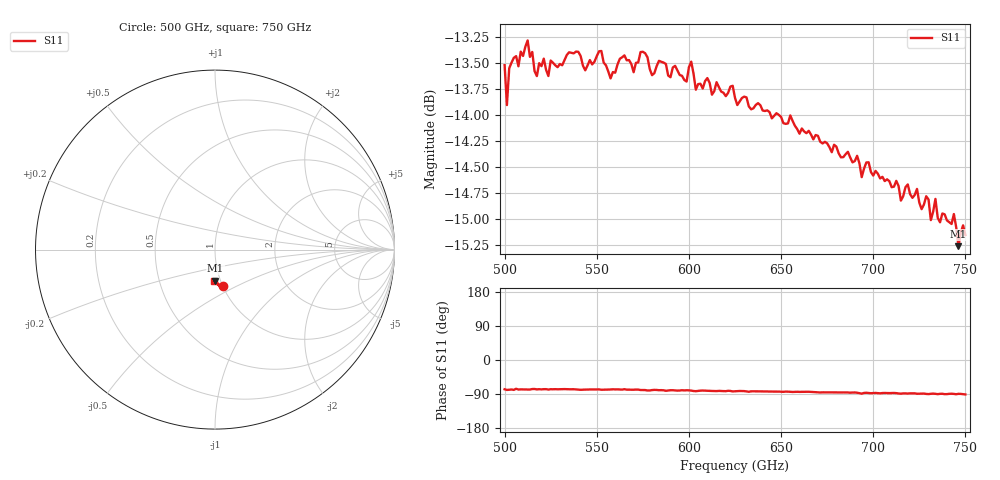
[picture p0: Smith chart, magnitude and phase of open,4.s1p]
!Created with mwavepy.
# GHz S RI R 50.0
!freq	ReS11	ImS11
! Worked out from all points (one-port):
!   201 points, 500 GHz to 750 GHz, reference 50 ohm
!   lowest |S11| = -15.3 dB at 746.2 GHz (marker M1), VSWR 1.42, Z = 47.3 - j16.8 ohm
!   |S11| at or under -10 dB: start of sweep to end of sweep
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500  0.0464 -0.2056
! Port Impedance 50.00000000000000 0.00000000000000
501.25  0.0385 -0.1979
502.5  0.0417 -0.2058
505  0.0409 -0.2085
506.25  0.052 -0.2064
512.5  0.0472 -0.2114
517.5  0.0449 -0.2033
531.25  0.0484 -0.2051
552.5  0.0426 -0.2098
557.5  0.0437 -0.203
562.5  0.0445 -0.2075
593.75  0.0337 -0.2068
598.75  0.0365 -0.2037
601.25  0.0338 -0.2088
603.75  0.0276 -0.2032
625  0.0262 -0.2016
656.25  0.0196 -0.1972
687.5  0.0122 -0.1899
712.5  0.00827 -0.1853
715  0.00372 -0.1814
718.75  0.00477 -0.1846
730  6.44e-05 -0.1817
731.25  0.00256 -0.1775
733.75  0.00234 -0.1818
736.25  0.00238 -0.1771
743.75  0.00171 -0.1788
746.25  0.00215 -0.1725
750  -0.00297 -0.1746
